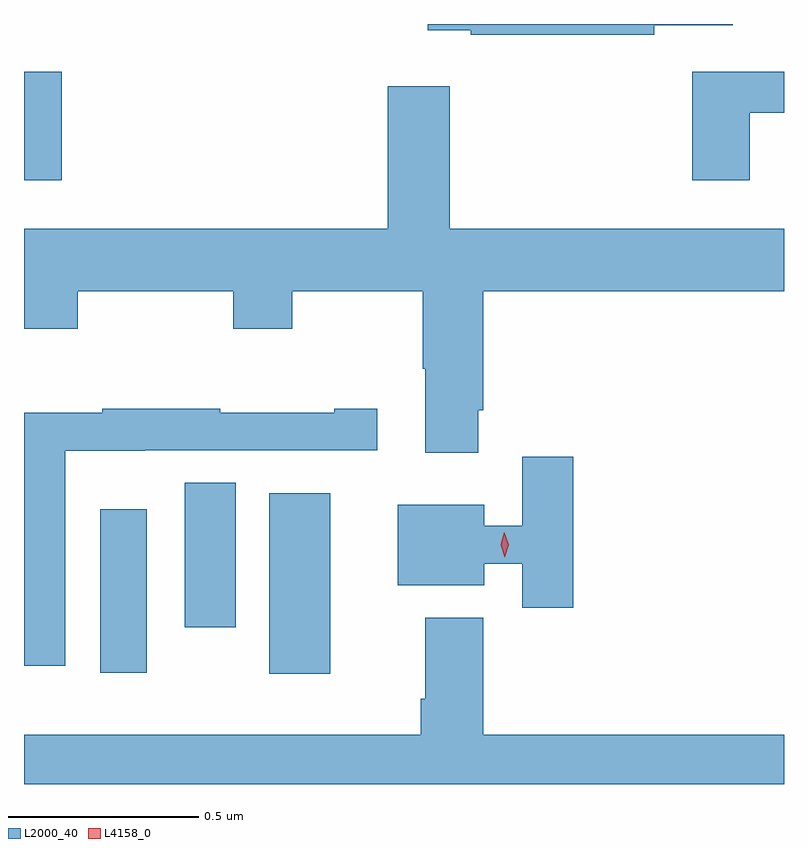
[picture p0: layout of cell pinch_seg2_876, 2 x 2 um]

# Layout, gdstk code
import gdstk
lib = gdstk.Library(unit=1e-6, precision=1e-09)
def R(c, l, rs):  # rectangles x0, y0, x1, y1
    for r in rs: c.add(gdstk.rectangle(r[:2], r[2:], *l))
def P(c, l, *ps):  # polygons
    for p in ps: c.add(gdstk.Polygon(p, *l))
L2000_40 = (2000, 40)
L4158_0 = (4158, 0)

pinch_seg2_876 = lib.new_cell('pinch_seg2_876')
R(pinch_seg2_876, L2000_40, [(524.336,630.645,524.497,631.12), (523.892,630.648,524.014,631.078), (524.114,630.768,524.248,631.148), (523.691,631.944,523.79,632.23)])
P(pinch_seg2_876, L2000_40, [(525.35,632.352),(525.556,632.352),(525.556,632.355),(524.754,632.355),(524.754,632.339),(524.866,632.339),(524.866,632.327),(525.35,632.327)],
  [(525.601,632.121),(525.691,632.121),(525.691,632.23),(525.449,632.23),(525.449,631.944),(525.601,631.944)],
  [(524.887,631.339),(524.9,631.339),(524.9,631.652),(525.691,631.652),(525.691,631.816),(524.812,631.816),(524.812,632.191),(524.648,632.191),(524.648,631.816),(523.691,631.816),(523.691,631.553),(523.833,631.553),(523.833,631.652),(524.242,631.652),(524.242,631.553),(524.397,631.553),(524.397,631.652),(524.74,631.652),(524.74,631.448),(524.747,631.448),(524.747,631.227),(524.887,631.227)],
  [(523.8,631.232),(524.01,631.232),(524.01,631.233),(524.62,631.233),(524.62,631.342),(524.507,631.342),(524.507,631.332),(524.207,631.332),(524.207,631.342),(523.897,631.342),(523.897,631.332),(523.691,631.332),(523.691,630.666),(523.8,630.666)],
  [(525.137,631.216),(525.002,631.216),(525.002,631.034),(524.902,631.034),(524.902,631.09),(524.675,631.09),(524.675,630.878),(524.902,630.878),(524.902,630.935),(525.002,630.935),(525.002,630.819),(525.137,630.819)],
  [(525.691,630.484),(524.9,630.484),(524.9,630.793),(524.747,630.793),(524.747,630.58),(524.735,630.58),(524.735,630.484),(523.691,630.484),(523.691,630.355),(525.691,630.355)])
P(pinch_seg2_876, L4158_0, [(524.956,630.952),(524.956,630.952),(524.946,630.985),(524.955,631.018),(524.955,631.018),(524.955,631.018),(524.966,630.985),(524.956,630.952)])

lib.write_gds('pinch_seg2_876.gds')
